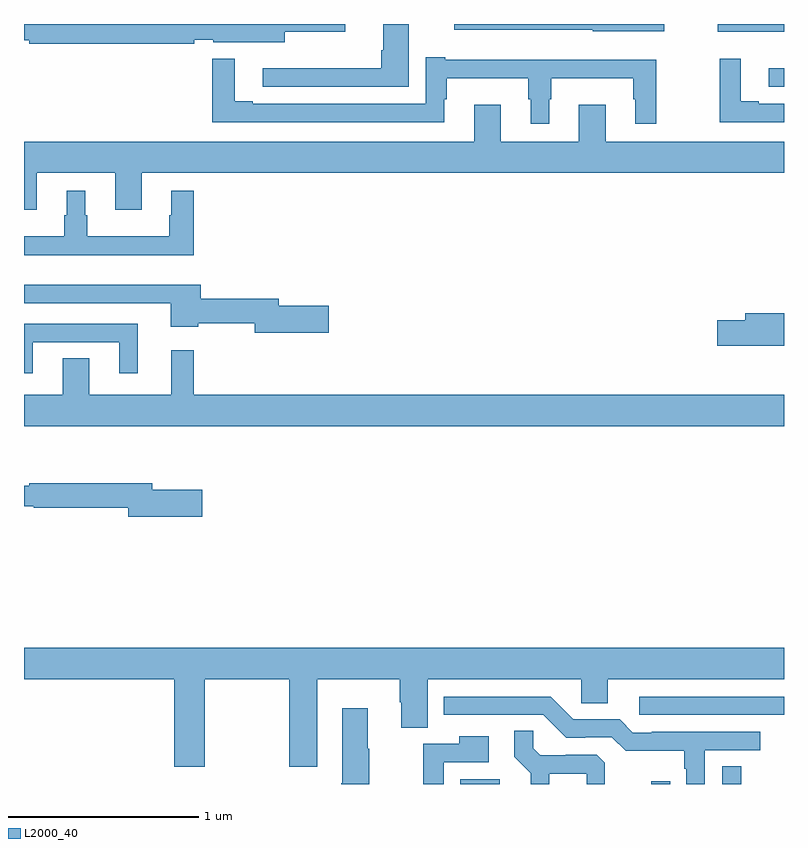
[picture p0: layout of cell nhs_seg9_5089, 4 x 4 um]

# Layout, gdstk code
import gdstk
lib = gdstk.Library(unit=1e-6, precision=1e-09)
def R(c, l, rs):  # rectangles x0, y0, x1, y1
    for r in rs: c.add(gdstk.rectangle(r[:2], r[2:], *l))
def P(c, l, *ps):  # polygons
    for p in ps: c.add(gdstk.Polygon(p, *l))
L2000_40 = (2000, 40)

nhs_seg9_5089 = lib.new_cell('nhs_seg9_5089')
R(nhs_seg9_5089, L2000_40, [(407.297,1230.5,407.503,1230.526), (408.3,1230.5,408.401,1230.514), (408.675,1230.5,408.774,1230.593), (408.237,1230.864,409,1230.96), (408.921,1234.17,409,1234.268), (408.65,1234.46,409,1234.5)])
P(nhs_seg9_5089, L2000_40, [(407.026,1234.5),(406.892,1234.5),(406.892,1234.363),(406.88,1234.363),(406.88,1234.268),(406.257,1234.268),(406.257,1234.17),(407.026,1234.17)],
  [(405.896,1234.416),(405.996,1234.416),(405.996,1234.403),(406.372,1234.403),(406.372,1234.46),(406.69,1234.46),(406.69,1234.5),(405,1234.5),(405,1234.415),(405.028,1234.415),(405.028,1234.396),(405.896,1234.396)],
  [(408.37,1234.5),(407.265,1234.5),(407.265,1234.469),(407.994,1234.469),(407.994,1234.463),(408.37,1234.463)],
  [(407.764,1234.103),(407.776,1234.103),(407.776,1234.214),(408.207,1234.214),(408.207,1234.103),(408.218,1234.103),(408.218,1233.975),(408.328,1233.975),(408.328,1234.312),(407.218,1234.312),(407.218,1234.324),(407.115,1234.324),(407.115,1234.08),(406.204,1234.08),(406.204,1234.093),(406.108,1234.093),(406.108,1234.318),(405.991,1234.318),(405.991,1233.984),(407.212,1233.984),(407.212,1234.103),(407.224,1234.103),(407.224,1234.214),(407.655,1234.214),(407.655,1234.103),(407.666,1234.103),(407.666,1233.975),(407.764,1233.975)],
  [(409,1234.08),(408.868,1234.08),(408.868,1234.093),(408.772,1234.093),(408.772,1234.318),(408.663,1234.318),(408.663,1233.984),(409,1233.984)],
  [(405.067,1233.716),(405.479,1233.716),(405.479,1233.522),(405.619,1233.522),(405.619,1233.716),(409,1233.716),(409,1233.88),(408.061,1233.88),(408.061,1234.075),(407.921,1234.075),(407.921,1233.88),(407.509,1233.88),(407.509,1234.075),(407.369,1234.075),(407.369,1233.88),(405,1233.88),(405,1233.522),(405.067,1233.522)],
  [(405.893,1233.622),(405.776,1233.622),(405.776,1233.494),(405.765,1233.494),(405.765,1233.382),(405.334,1233.382),(405.334,1233.494),(405.322,1233.494),(405.322,1233.622),(405.224,1233.622),(405.224,1233.494),(405.213,1233.494),(405.213,1233.382),(405,1233.382),(405,1233.284),(405.893,1233.284)],
  [(406.603,1233.017),(406.342,1233.017),(406.342,1233.053),(405.929,1233.053),(405.929,1233.127),(405,1233.127),(405,1233.03),(405.773,1233.03),(405.773,1232.906),(405.916,1232.906),(405.916,1232.925),(406.214,1232.925),(406.214,1232.875),(406.603,1232.875)],
  [(409,1232.978),(408.797,1232.978),(408.797,1232.942),(408.648,1232.942),(408.648,1232.807),(409,1232.807)],
  [(405.046,1232.826),(405.5,1232.826),(405.5,1232.661),(405.599,1232.661),(405.599,1232.922),(405,1232.922),(405,1232.661),(405.046,1232.661)],
  [(405.203,1232.741),(405.203,1232.548),(405,1232.548),(405,1232.384),(409,1232.384),(409,1232.548),(405.893,1232.548),(405.893,1232.782),(405.776,1232.782),(405.776,1232.548),(405.343,1232.548),(405.343,1232.741)],
  [(405.937,1232.049),(405.676,1232.049),(405.676,1232.083),(405.028,1232.083),(405.028,1232.07),(405,1232.07),(405,1231.962),(405.052,1231.962),(405.052,1231.954),(405.548,1231.954),(405.548,1231.907),(405.937,1231.907)],
  [(405.951,1231.052),(406.396,1231.052),(406.396,1230.591),(406.543,1230.591),(406.543,1231.052),(406.978,1231.052),(406.978,1230.93),(406.985,1230.93),(406.985,1230.796),(407.125,1230.796),(407.125,1231.052),(407.934,1231.052),(407.934,1230.925),(408.073,1230.925),(408.073,1231.052),(409,1231.052),(409,1231.216),(405,1231.216),(405,1231.052),(405.791,1231.052),(405.791,1230.591),(405.951,1230.591)],
  [(408.582,1230.678),(408.874,1230.678),(408.874,1230.774),(408.304,1230.774),(408.304,1230.771),(408.204,1230.771),(408.135,1230.84),(407.892,1230.84),(407.772,1230.96),(407.21,1230.96),(407.21,1230.864),(407.733,1230.864),(407.853,1230.744),(407.954,1230.744),(407.954,1230.747),(408.093,1230.747),(408.166,1230.674),(408.474,1230.674),(408.474,1230.581),(408.486,1230.581),(408.486,1230.5),(408.582,1230.5)],
  [(406.818,1230.685),(406.81,1230.685),(406.81,1230.898),(406.676,1230.898),(406.676,1230.503),(406.669,1230.503),(406.669,1230.5),(406.818,1230.5)],
  [(407.765,1230.554),(407.962,1230.554),(407.962,1230.5),(408.056,1230.5),(408.056,1230.613),(408.015,1230.654),(407.85,1230.654),(407.85,1230.651),(407.716,1230.651),(407.679,1230.688),(407.679,1230.779),(407.581,1230.779),(407.581,1230.643),(407.667,1230.557),(407.667,1230.5),(407.765,1230.5)],
  [(407.208,1230.615),(407.446,1230.615),(407.446,1230.751),(407.29,1230.751),(407.29,1230.711),(407.1,1230.711),(407.1,1230.5),(407.208,1230.5)])

lib.write_gds('nhs_seg9_5089.gds')
